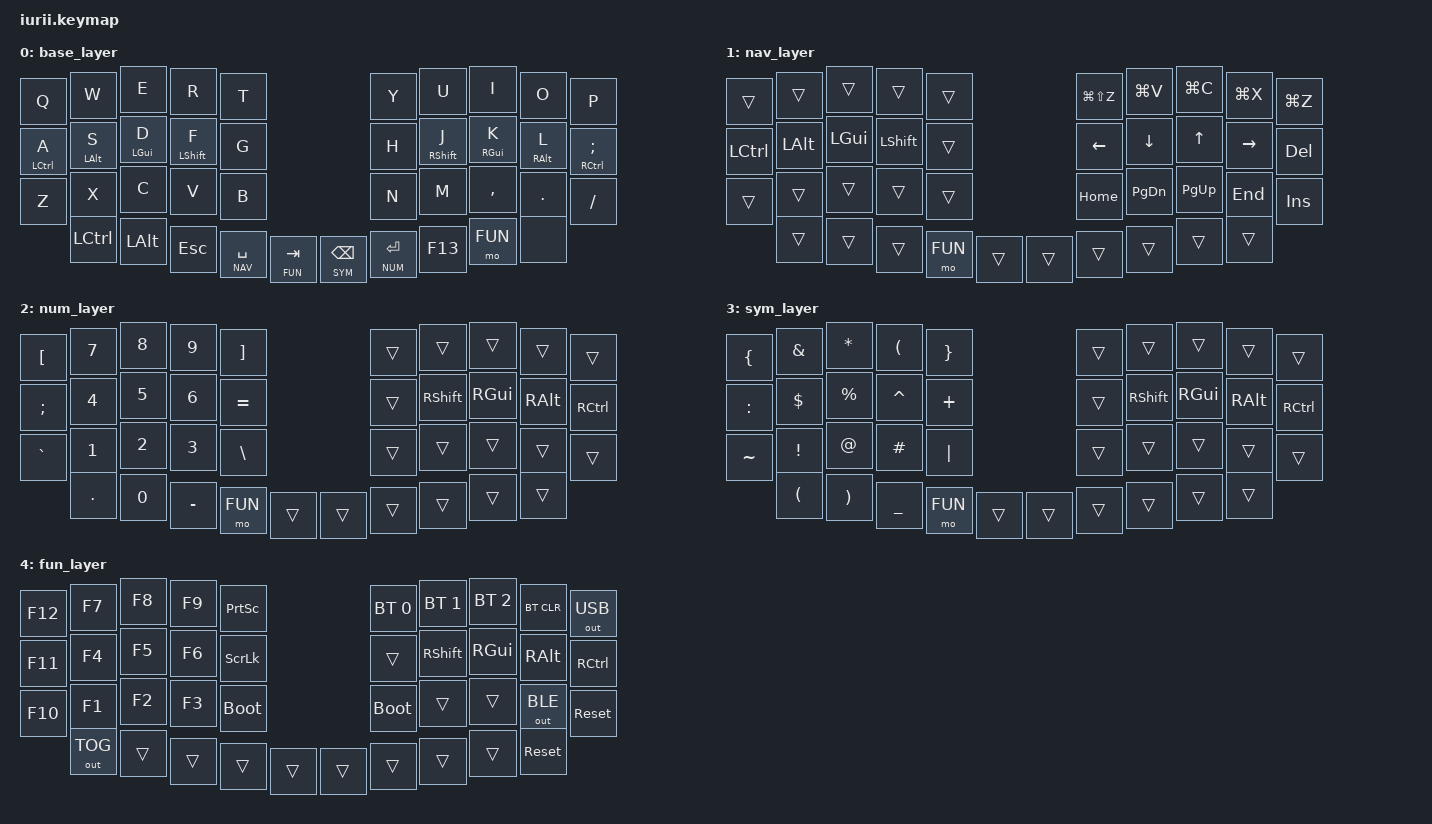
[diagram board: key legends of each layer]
#include <behaviors.dtsi>
#include <dt-bindings/zmk/keys.h>
#include <dt-bindings/zmk/bt.h>
#include <dt-bindings/zmk/reset.h>
#include <dt-bindings/zmk/outputs.h>

#define BASE 0
#define NAV  1
#define NUM  2
#define SYM  3
#define FUN  4

/ {
    behaviors {
        // Home-row mods with balanced flavor
        hm: homerow_mods {
            compatible = "zmk,behavior-hold-tap";
            #binding-cells = <2>;
            tapping-term-ms = <280>;
            quick-tap-ms = <175>;
            require-prior-idle-ms = <150>;
            flavor = "balanced";
            bindings = <&kp>, <&kp>;
        };

        // Layer-tap for thumb keys
        lt: layer_tap {
            compatible = "zmk,behavior-hold-tap";
            #binding-cells = <2>;
            tapping-term-ms = <200>;
            quick-tap-ms = <175>;
            flavor = "balanced";
            bindings = <&mo>, <&kp>;
        };
    };

    combos {
        compatible = "zmk,combos";

        // J+K = ESC (Vim exit insert mode)
        combo_esc {
            timeout-ms = <50>;
            key-positions = <16 17>;
            bindings = <&kp ESC>;
            layers = <BASE>;
        };

        // D+F = Underscore (Python snake_case)
        combo_under {
            timeout-ms = <50>;
            key-positions = <12 13>;
            bindings = <&kp UNDER>;
            layers = <BASE>;
        };

        // K+L = Colon (Python)
        combo_colon {
            timeout-ms = <50>;
            key-positions = <17 18>;
            bindings = <&kp COLON>;
            layers = <BASE>;
        };

        // Q+P = Caps Word (CONSTANT_NAMES)
        combo_caps {
            timeout-ms = <50>;
            key-positions = <0 9>;
            bindings = <&caps_word>;
            layers = <BASE>;
        };
    };

    keymap {
        compatible = "zmk,keymap";

        base_layer {
            bindings = <
// ╭────────────┬────────────┬────────────┬────────────┬────────────╮   ╭────────────┬────────────┬────────────┬────────────┬────────────╮
    &kp Q        &kp W        &kp E        &kp R        &kp T            &kp Y        &kp U        &kp I        &kp O        &kp P
// ├────────────┼────────────┼────────────┼────────────┼────────────┤   ├────────────┼────────────┼────────────┼────────────┼────────────┤
    &hm LCTRL A  &hm LALT S   &hm LGUI D   &hm LSHFT F  &kp G            &kp H        &hm RSHFT J  &hm RGUI K   &hm RALT L   &hm RCTRL SEMI
// ├────────────┼────────────┼────────────┼────────────┼────────────┤   ├────────────┼────────────┼────────────┼────────────┼────────────┤
    &kp Z        &kp X        &kp C        &kp V        &kp B            &kp N        &kp M        &kp COMMA    &kp DOT      &kp FSLH
// ├────────────┼────────────┼────────────┼────────────┼────────────┤   ├────────────┼────────────┼────────────┼────────────┼────────────┤
    &kp LCTRL    &kp LALT     &kp ESC      &lt NAV SPACE &lt FUN TAB     &lt SYM BSPC &lt NUM RET  &kp F13      &mo FUN      &none
// ╰────────────┴────────────┴────────────┴────────────┴────────────╯   ╰────────────┴────────────┴────────────┴────────────┴────────────╯
            >;
        };

        nav_layer {
            bindings = <
// ╭────────────┬────────────┬────────────┬────────────┬────────────╮   ╭────────────┬────────────┬────────────┬────────────┬────────────╮
    &trans       &trans       &trans       &trans       &trans           &kp LG(LS(Z)) &kp LG(V)   &kp LG(C)    &kp LG(X)    &kp LG(Z)
// ├────────────┼────────────┼────────────┼────────────┼────────────┤   ├────────────┼────────────┼────────────┼────────────┼────────────┤
    &kp LCTRL    &kp LALT     &kp LGUI     &kp LSHFT    &trans           &kp LEFT     &kp DOWN     &kp UP       &kp RIGHT    &kp DEL
// ├────────────┼────────────┼────────────┼────────────┼────────────┤   ├────────────┼────────────┼────────────┼────────────┼────────────┤
    &trans       &trans       &trans       &trans       &trans           &kp HOME     &kp PG_DN    &kp PG_UP    &kp END      &kp INS
// ├────────────┼────────────┼────────────┼────────────┼────────────┤   ├────────────┼────────────┼────────────┼────────────┼────────────┤
    &trans       &trans       &trans       &mo FUN      &trans           &trans       &trans       &trans       &trans       &trans
// ╰────────────┴────────────┴────────────┴────────────┴────────────╯   ╰────────────┴────────────┴────────────┴────────────┴────────────╯
            >;
        };

        num_layer {
            bindings = <
// ╭────────────┬────────────┬────────────┬────────────┬────────────╮   ╭────────────┬────────────┬────────────┬────────────┬────────────╮
    &kp LBKT     &kp N7       &kp N8       &kp N9       &kp RBKT         &trans       &trans       &trans       &trans       &trans
// ├────────────┼────────────┼────────────┼────────────┼────────────┤   ├────────────┼────────────┼────────────┼────────────┼────────────┤
    &kp SEMI     &kp N4       &kp N5       &kp N6       &kp EQUAL        &trans       &kp RSHFT    &kp RGUI     &kp RALT     &kp RCTRL
// ├────────────┼────────────┼────────────┼────────────┼────────────┤   ├────────────┼────────────┼────────────┼────────────┼────────────┤
    &kp GRAVE    &kp N1       &kp N2       &kp N3       &kp BSLH         &trans       &trans       &trans       &trans       &trans
// ├────────────┼────────────┼────────────┼────────────┼────────────┤   ├────────────┼────────────┼────────────┼────────────┼────────────┤
    &kp DOT      &kp N0       &kp MINUS    &mo FUN      &trans           &trans       &trans       &trans       &trans       &trans
// ╰────────────┴────────────┴────────────┴────────────┴────────────╯   ╰────────────┴────────────┴────────────┴────────────┴────────────╯
            >;
        };

        sym_layer {
            bindings = <
// ╭────────────┬────────────┬────────────┬────────────┬────────────╮   ╭────────────┬────────────┬────────────┬────────────┬────────────╮
    &kp LBRC     &kp AMPS     &kp ASTRK    &kp LPAR     &kp RBRC         &trans       &trans       &trans       &trans       &trans
// ├────────────┼────────────┼────────────┼────────────┼────────────┤   ├────────────┼────────────┼────────────┼────────────┼────────────┤
    &kp COLON    &kp DLLR     &kp PRCNT    &kp CARET    &kp PLUS         &trans       &kp RSHFT    &kp RGUI     &kp RALT     &kp RCTRL
// ├────────────┼────────────┼────────────┼────────────┼────────────┤   ├────────────┼────────────┼────────────┼────────────┼────────────┤
    &kp TILDE    &kp EXCL     &kp AT       &kp HASH     &kp PIPE         &trans       &trans       &trans       &trans       &trans
// ├────────────┼────────────┼────────────┼────────────┼────────────┤   ├────────────┼────────────┼────────────┼────────────┼────────────┤
    &kp LPAR     &kp RPAR     &kp UNDER    &mo FUN      &trans           &trans       &trans       &trans       &trans       &trans
// ╰────────────┴────────────┴────────────┴────────────┴────────────╯   ╰────────────┴────────────┴────────────┴────────────┴────────────╯
            >;
        };

        fun_layer {
            bindings = <
// ╭────────────┬────────────┬────────────┬────────────┬────────────╮   ╭────────────┬────────────┬────────────┬────────────┬────────────╮
    &kp F12      &kp F7       &kp F8       &kp F9       &kp PSCRN        &bt BT_SEL 0 &bt BT_SEL 1 &bt BT_SEL 2 &bt BT_CLR   &out OUT_USB
// ├────────────┼────────────┼────────────┼────────────┼────────────┤   ├────────────┼────────────┼────────────┼────────────┼────────────┤
    &kp F11      &kp F4       &kp F5       &kp F6       &kp SLCK         &trans       &kp RSHFT    &kp RGUI     &kp RALT     &kp RCTRL
// ├────────────┼────────────┼────────────┼────────────┼────────────┤   ├────────────┼────────────┼────────────┼────────────┼────────────┤
    &kp F10      &kp F1       &kp F2       &kp F3       &bootloader      &bootloader  &trans       &trans       &out OUT_BLE &sys_reset
// ├────────────┼────────────┼────────────┼────────────┼────────────┤   ├────────────┼────────────┼────────────┼────────────┼────────────┤
    &out OUT_TOG &trans       &trans       &trans       &trans           &trans       &trans       &trans       &trans       &sys_reset
// ╰────────────┴────────────┴────────────┴────────────┴────────────╯   ╰────────────┴────────────┴────────────┴────────────┴────────────╯
            >;
        };
    };
};
